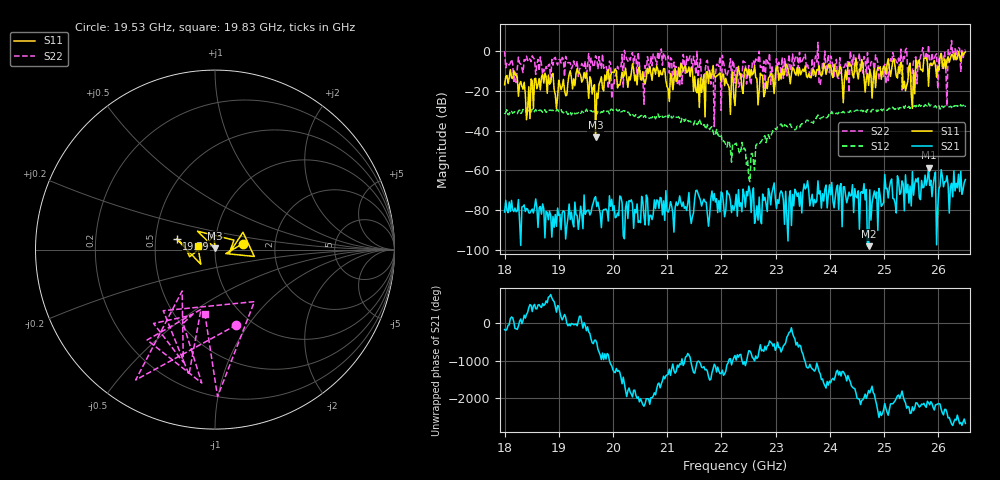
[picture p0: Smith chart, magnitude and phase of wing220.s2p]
!Keysight Technologies,N5242B,MY47200105,A.14.00.23
!Date: Friday, May 10, 2024 11:09:05
!Correction: S11(C  2-Port  )
!S21(C  2-Port  )
!S12(C  2-Port  )
!S22(C  2-Port  )
!S2P File: Measurement: :
# Hz S  RI  R 50
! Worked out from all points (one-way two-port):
!   401 points, 18 GHz to 26.5 GHz, reference 50 ohm
!   highest |S21| = -58.60 dB at 25.82 GHz (marker M1); lowest = -97.9 dB at 24.71 GHz (marker M2)
!   lowest |S11| = -43.3 dB at 19.68 GHz (marker M3), VSWR 1.01, Z = 50.1 + j0.681 ohm
!   |S11| at or under -10 dB: 18.11 GHz to 19.33 GHz (1.222 GHz wide, 6.53 % of centre); 19.35 GHz to 19.9 GHz (551.4 MHz wide, 2.81 % of centre); 21.86 GHz to 22.3 GHz (441 MHz wide, 2 % of centre) (the widest 3 of 60)
!   |S22| runs from -38.0 to 5.1 dB; largest |S21 - S12| = 0.049
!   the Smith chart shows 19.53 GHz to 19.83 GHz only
!   S11 on the Smith chart (normalised r, x): 19.53 GHz: 1.36, +0.09; 19.79 GHz: 0.64, +0.08; 19.83 GHz: 0.82, +0.04
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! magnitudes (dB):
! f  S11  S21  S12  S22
! 18 GHz  -17.1  -80.8  -31.7  -0.2
! 18.43 GHz  -29.5  -79.4  -29.8  -4.9
! 18.72 GHz  -16.2  -79.1  -29.9  -9.3
! 19.42 GHz  -15.8  -81.9  -30.3  -6.4
! 19.53 GHz  -16.0  -80.0  -30.7  -7.2
! 19.68 GHz  -43.3  -73.1  -30.8  -2.5
! 19.79 GHz  -13.1  -88.7  -30.6  -8.8
! 19.83 GHz  -20.2  -79.6  -30.1  -8.8
! 20.55 GHz  -10.5  -75.8  -33.6  -13.8
! 20.85 GHz  -13.0  -79.0  -33.3  -4.6
! 21.23 GHz  -12.9  -72.7  -33.8  -17.8
! 21.4 GHz  -8.1  -71.0  -35.5  -4.3
! 21.85 GHz  -7.4  -75.1  -40.7  -8.9
! 22.25 GHz  -27.6  -77.6  -47.0  -16.2
! 22.5 GHz  -9.3  -67.8  -64.1  -7.5
! 23.06 GHz  -14.9  -76.5  -37.5  -5.7
! 23.67 GHz  -11.1  -72.0  -35.8  -3.9
! 24.71 GHz  -17.4  -97.9  -30.4  -9.1
! 25.1 GHz  -9.1  -68.8  -28.8  -6.0
! 25.52 GHz  -28.9  -60.5  -28.4  -10.1
! 25.82 GHz  -17.8  -58.6  -26.3  2.7
! 26.5 GHz  -0.7  -64.6  -28.2  0.5
